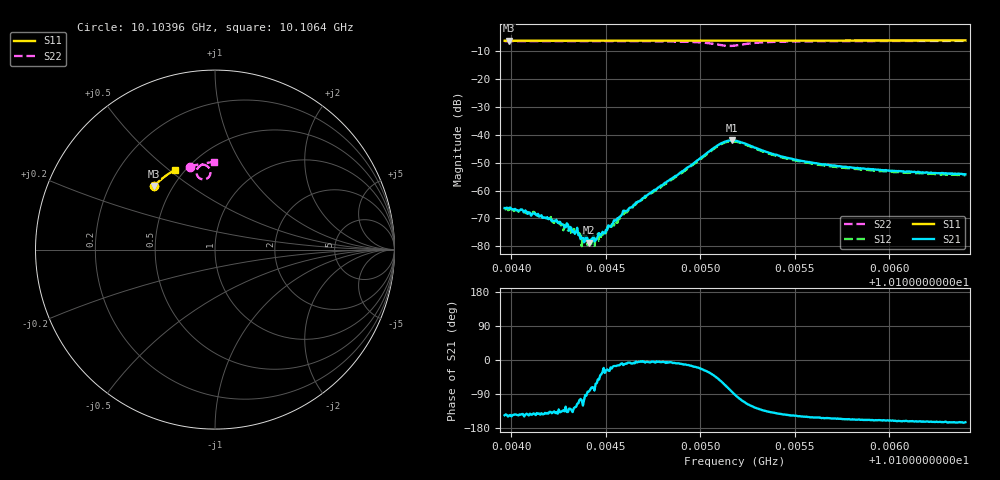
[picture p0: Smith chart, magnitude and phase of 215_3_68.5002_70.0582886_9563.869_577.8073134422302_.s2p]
#  HZ  S  RI  R  50.00
! Rohde & Schwarz Vector Network Analyzer
! Rohde-Schwarz,ZNB20-2Port,1311601062101988,3.16
! Created: UTC 3/20/2024, 5:13:19 PM
! freq[Hz]  re:S11  im:S11  re:S21  im:S21  re:S12  im:S12  re:S22  im:S22
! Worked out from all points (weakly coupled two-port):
!   401 points, 10.10396 GHz to 10.1064 GHz, reference 50 ohm
!   highest |S21| = -42.00 dB at 10.10516 GHz (marker M1); lowest = -78.7 dB at 10.10441 GHz (marker M2)
!   lowest |S11| = -6.2 dB at 10.10399 GHz (marker M3), VSWR 2.93, Z = 19.8 + j18.5 ohm
!   |S11| at or under -10 dB: nowhere
!   |S22| runs from -8.1 to -6.2 dB; largest |S21 - S12| = 0.00085
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1.0103964e10  -0.3405 0.3534  -0.000402 -0.000272  -0.000367 -0.000265  -0.1403 0.462
1.0103988e10  -0.3394 0.3544  -0.000407 -0.000273  -0.000357 -0.000301  -0.1386 0.4626
1.0104116e10  -0.334 0.36  -0.000302 -0.000244  -0.000298 -0.00029  -0.1298 0.4654
1.0104244e10  -0.3285 0.3655  -0.000208 -0.000164  -0.000165 -0.000223  -0.1207 0.4681
1.0104305e10  -0.3257 0.3681  -0.000119 -0.000149  -0.00011 -0.000164  -0.1162 0.4692
1.0104329e10  -0.3247 0.3691  -0.000112 -0.000146  -0.000102 -0.000177  -0.1143 0.4696
1.0104342e10  -0.3242 0.3696  -0.000101 -0.000151  -6.99e-05 -0.000161  -0.1135 0.4699
1.0104372e10  -0.3229 0.371  -4.1e-05 -0.00014  -4.16e-05 -9.12e-05  -0.1111 0.4703
1.0104409e10  -0.3213 0.3725  1.3e-05 -0.000115  8.02e-06 -0.000137  -0.1081 0.4711
1.0104433e10  -0.3201 0.3735  4.59e-05 -0.000147  6.79e-05 -7.84e-05  -0.1063 0.4715
1.0104482e10  -0.318 0.3756  0.000153 -9.63e-05  0.000126 -9.57e-05  -0.1023 0.4722
1.0104592e10  -0.313 0.38  0.000421 -0.000101  0.000368 -1.59e-05  -0.0926 0.4739
1.0104634e10  -0.311 0.3819  0.000492 -8.11e-05  0.000491 -3.37e-05  -0.0885 0.4743
1.0104781e10  -0.3045 0.3877  0.00115 -8.71e-05  0.00112 6.6e-07  -0.0723 0.4747
1.0105085e10  -0.2897 0.3991  0.00436 -0.00454  0.00461 -0.00395  -0.0258 0.4218
1.0105128e10  -0.2878 0.4005  0.00318 -0.00682  0.0037 -0.00624  -0.041 0.3986
1.0105165e10  -0.2862 0.4015  0.000959 -0.00789  0.00164 -0.00748  -0.0664 0.3911
1.0105183e10  -0.2855 0.4024  -0.00026 -0.00788  0.000527 -0.00757  -0.079 0.3941
1.0105384e10  -0.276 0.41  -0.00341 -0.00299  -0.00303 -0.00315  -0.0926 0.4588
1.0105591e10  -0.2658 0.4175  -0.00278 -0.00154  -0.00252 -0.00172  -0.0688 0.4754
1.0106e10  -0.2452 0.4312  -0.00213 -0.000797  -0.00199 -0.00093  -0.0341 0.4845
1.0106402e10  -0.224 0.4435  -0.00188 -0.000531  -0.00176 -0.000622  -0.00534 0.4877
